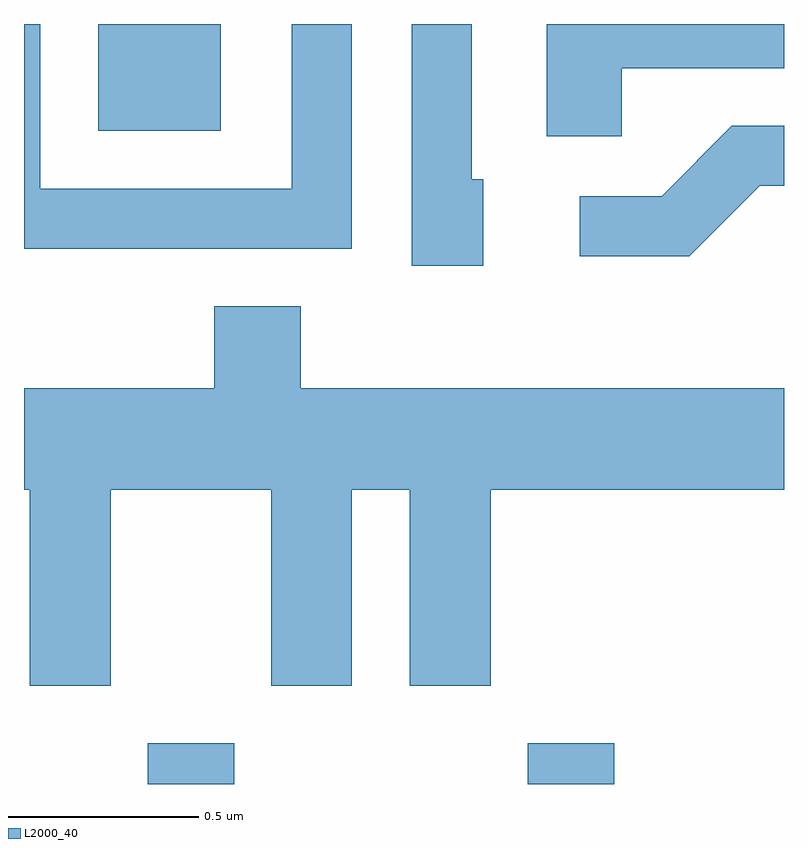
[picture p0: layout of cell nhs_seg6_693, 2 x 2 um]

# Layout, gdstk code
import gdstk
lib = gdstk.Library(unit=1e-6, precision=1e-09)
def R(c, l, rs):  # rectangles x0, y0, x1, y1
    for r in rs: c.add(gdstk.rectangle(r[:2], r[2:], *l))
def P(c, l, *ps):  # polygons
    for p in ps: c.add(gdstk.Polygon(p, *l))
L2000_40 = (2000, 40)

nhs_seg6_693 = lib.new_cell('nhs_seg6_693')
R(nhs_seg6_693, L2000_40, [(190.936,1538.162,191.164,1538.269), (191.936,1538.162,192.164,1538.269), (190.806,1539.881,191.129,1540.162)])
P(nhs_seg6_693, L2000_40, [(191.819,1539.754),(191.789,1539.754),(191.789,1540.162),(191.631,1540.162),(191.631,1539.526),(191.819,1539.526)],
  [(191.474,1540.162),(191.316,1540.162),(191.316,1539.729),(190.654,1539.729),(190.654,1540.162),(190.611,1540.162),(190.611,1539.571),(191.474,1539.571)],
  [(192.184,1540.046),(192.611,1540.046),(192.611,1540.162),(191.986,1540.162),(191.986,1539.866),(192.184,1539.866)],
  [(192.547,1539.736),(192.611,1539.736),(192.611,1539.894),(192.474,1539.894),(192.289,1539.709),(192.073,1539.709),(192.073,1539.551),(192.362,1539.551)],
  [(190.839,1538.936),(191.261,1538.936),(191.261,1538.421),(191.474,1538.421),(191.474,1538.936),(191.626,1538.936),(191.626,1538.421),(191.839,1538.421),(191.839,1538.936),(192.611,1538.936),(192.611,1539.204),(191.339,1539.204),(191.339,1539.419),(191.111,1539.419),(191.111,1539.204),(190.611,1539.204),(190.611,1538.936),(190.626,1538.936),(190.626,1538.421),(190.839,1538.421)])

lib.write_gds('nhs_seg6_693.gds')
